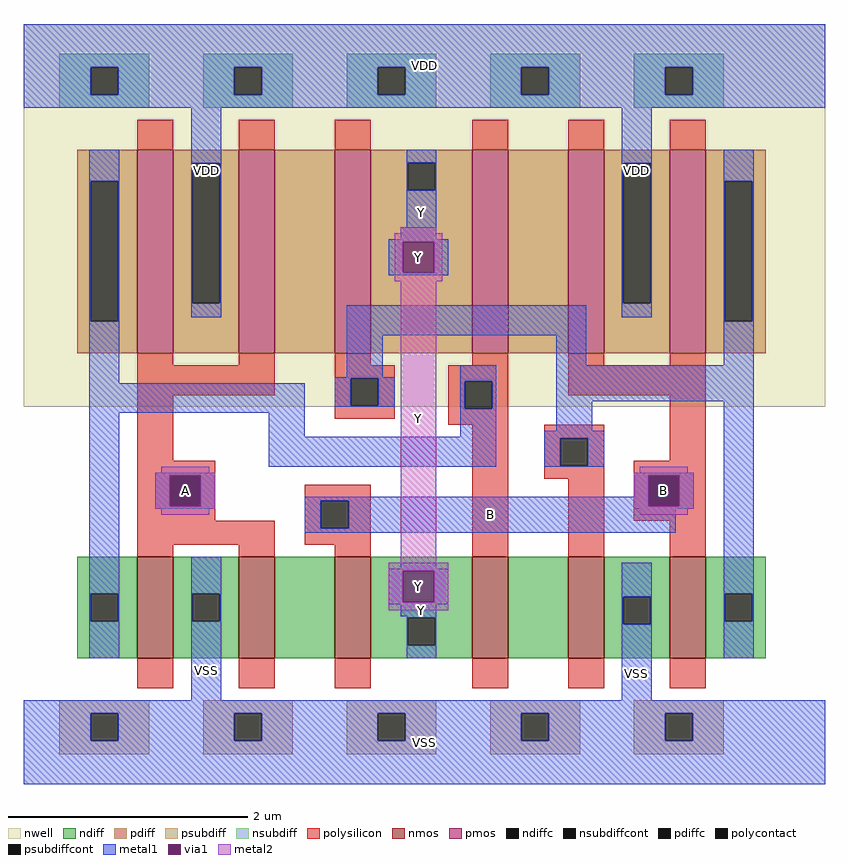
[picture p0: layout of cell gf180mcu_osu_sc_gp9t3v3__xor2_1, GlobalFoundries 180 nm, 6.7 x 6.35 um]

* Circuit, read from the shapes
.subckt gf180mcu_osu_sc_gp9t3v3__xor2_1 A B Y VDD VSS
XM1 VSS A n1 VSS nfet_03v3 w=0.85u l=0.3u
XM2 n2 A VSS VSS nfet_03v3 w=0.85u l=0.3u
XM3 Y B n2 VSS nfet_03v3 w=0.85u l=0.3u
XM4 n3 n1 Y VSS nfet_03v3 w=0.85u l=0.3u
XM5 VSS n4 n3 VSS nfet_03v3 w=0.85u l=0.3u
XM6 n4 B VSS VSS nfet_03v3 w=0.85u l=0.3u
XM7 VDD A n1 VDD pfet_03v3 w=1.7u l=0.3u
XM8 n5 A VDD VDD pfet_03v3 w=1.7u l=0.3u
XM9 Y n4 n5 VDD pfet_03v3 w=1.7u l=0.3u
XM10 n6 n1 Y VDD pfet_03v3 w=1.7u l=0.3u
XM11 VDD B n6 VDD pfet_03v3 w=1.7u l=0.3u
XM12 n4 B VDD VDD pfet_03v3 w=1.7u l=0.3u
.ends

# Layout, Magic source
magic
tech gf180mcuA
magscale 1 10
<< nwell >>
rect 0 630 1340 1270
<< nmos >>
rect 190 210 250 380
rect 360 210 420 380
rect 520 210 580 380
rect 750 210 810 380
rect 910 210 970 380
rect 1080 210 1140 380
<< pmos >>
rect 190 720 250 1060
rect 360 720 420 1060
rect 520 720 580 1060
rect 750 720 810 1060
rect 910 720 970 1060
rect 1080 720 1140 1060
<< ndiff >>
rect 90 318 190 380
rect 90 272 112 318
rect 158 272 190 318
rect 90 210 190 272
rect 250 318 360 380
rect 250 272 282 318
rect 328 272 360 318
rect 250 210 360 272
rect 420 210 520 380
rect 580 278 750 380
rect 580 232 642 278
rect 688 232 750 278
rect 580 210 750 232
rect 810 210 910 380
rect 970 313 1080 380
rect 970 267 1002 313
rect 1048 267 1080 313
rect 970 210 1080 267
rect 1140 318 1240 380
rect 1140 272 1172 318
rect 1218 272 1240 318
rect 1140 210 1240 272
<< pdiff >>
rect 90 1007 190 1060
rect 90 773 112 1007
rect 158 773 190 1007
rect 90 720 190 773
rect 250 1037 360 1060
rect 250 803 282 1037
rect 328 803 360 1037
rect 250 720 360 803
rect 420 720 520 1060
rect 580 1038 750 1060
rect 580 992 642 1038
rect 688 992 750 1038
rect 580 720 750 992
rect 810 720 910 1060
rect 970 1037 1080 1060
rect 970 803 1002 1037
rect 1048 803 1080 1037
rect 970 720 1080 803
rect 1140 1007 1240 1060
rect 1140 773 1172 1007
rect 1218 773 1240 1007
rect 1140 720 1240 773
<< ndiffc >>
rect 112 272 158 318
rect 282 272 328 318
rect 642 232 688 278
rect 1002 267 1048 313
rect 1172 272 1218 318
<< pdiffc >>
rect 112 773 158 1007
rect 282 803 328 1037
rect 642 992 688 1038
rect 1002 803 1048 1037
rect 1172 773 1218 1007
<< psubdiff >>
rect 60 118 210 140
rect 60 72 112 118
rect 158 72 210 118
rect 60 50 210 72
rect 300 118 450 140
rect 300 72 352 118
rect 398 72 450 118
rect 300 50 450 72
rect 540 118 690 140
rect 540 72 592 118
rect 638 72 690 118
rect 540 50 690 72
rect 780 118 930 140
rect 780 72 832 118
rect 878 72 930 118
rect 780 50 930 72
rect 1020 118 1170 140
rect 1020 72 1072 118
rect 1118 72 1170 118
rect 1020 50 1170 72
<< nsubdiff >>
rect 60 1198 210 1220
rect 60 1152 112 1198
rect 158 1152 210 1198
rect 60 1130 210 1152
rect 300 1198 450 1220
rect 300 1152 352 1198
rect 398 1152 450 1198
rect 300 1130 450 1152
rect 540 1198 690 1220
rect 540 1152 592 1198
rect 638 1152 690 1198
rect 540 1130 690 1152
rect 780 1198 930 1220
rect 780 1152 832 1198
rect 878 1152 930 1198
rect 780 1130 930 1152
rect 1020 1198 1170 1220
rect 1020 1152 1072 1198
rect 1118 1152 1170 1198
rect 1020 1130 1170 1152
<< psubdiffcont >>
rect 112 72 158 118
rect 352 72 398 118
rect 592 72 638 118
rect 832 72 878 118
rect 1072 72 1118 118
<< nsubdiffcont >>
rect 112 1152 158 1198
rect 352 1152 398 1198
rect 592 1152 638 1198
rect 832 1152 878 1198
rect 1072 1152 1118 1198
<< polysilicon >>
rect 190 1060 250 1110
rect 360 1060 420 1110
rect 520 1060 580 1110
rect 750 1060 810 1110
rect 910 1060 970 1110
rect 1080 1060 1140 1110
rect 190 700 250 720
rect 360 700 420 720
rect 190 650 420 700
rect 520 700 580 720
rect 750 700 810 720
rect 520 678 620 700
rect 190 540 250 650
rect 520 632 547 678
rect 593 632 620 678
rect 520 610 620 632
rect 710 673 810 700
rect 710 627 737 673
rect 783 627 810 673
rect 910 700 970 720
rect 1080 700 1140 720
rect 910 650 1140 700
rect 710 600 810 627
rect 190 513 320 540
rect 190 467 247 513
rect 293 467 320 513
rect 190 440 320 467
rect 470 473 580 500
rect 190 400 420 440
rect 470 427 497 473
rect 543 427 580 473
rect 470 400 580 427
rect 190 380 250 400
rect 360 380 420 400
rect 520 380 580 400
rect 750 380 810 600
rect 870 578 970 600
rect 870 532 897 578
rect 943 532 970 578
rect 1080 540 1140 650
rect 870 510 970 532
rect 910 380 970 510
rect 1020 513 1140 540
rect 1020 467 1047 513
rect 1093 467 1140 513
rect 1020 440 1140 467
rect 1080 380 1140 440
rect 190 160 250 210
rect 360 160 420 210
rect 520 160 580 210
rect 750 160 810 210
rect 910 160 970 210
rect 1080 160 1140 210
<< polycontact >>
rect 547 632 593 678
rect 737 627 783 673
rect 247 467 293 513
rect 497 427 543 473
rect 897 532 943 578
rect 1047 467 1093 513
<< metal1 >>
rect 0 1198 1340 1270
rect 0 1152 112 1198
rect 158 1152 352 1198
rect 398 1152 592 1198
rect 638 1152 832 1198
rect 878 1152 1072 1198
rect 1118 1152 1340 1198
rect 0 1130 1340 1152
rect 110 1007 160 1060
rect 110 773 112 1007
rect 158 773 160 1007
rect 280 1037 330 1130
rect 280 803 282 1037
rect 328 803 330 1037
rect 640 1038 690 1060
rect 640 992 642 1038
rect 688 992 690 1038
rect 640 930 690 992
rect 630 910 690 930
rect 1000 1037 1050 1130
rect 610 906 710 910
rect 610 854 634 906
rect 686 854 710 906
rect 610 850 710 854
rect 280 780 330 803
rect 1000 803 1002 1037
rect 1048 803 1050 1037
rect 110 670 160 773
rect 540 750 940 800
rect 1000 780 1050 803
rect 1170 1007 1220 1060
rect 540 680 600 750
rect 890 700 940 750
rect 1170 773 1172 1007
rect 1218 773 1220 1007
rect 1170 700 1220 773
rect 520 678 620 680
rect 110 620 470 670
rect 520 632 547 678
rect 593 632 620 678
rect 520 630 620 632
rect 730 673 790 700
rect 110 318 160 620
rect 410 580 470 620
rect 730 627 737 673
rect 783 627 790 673
rect 730 580 790 627
rect 890 640 1220 700
rect 890 590 950 640
rect 410 530 790 580
rect 870 578 970 590
rect 870 532 897 578
rect 943 532 970 578
rect 870 530 970 532
rect 220 516 320 520
rect 220 464 244 516
rect 296 464 320 516
rect 1020 516 1120 520
rect 1020 480 1044 516
rect 220 460 320 464
rect 470 473 1044 480
rect 470 427 497 473
rect 543 464 1044 473
rect 1096 464 1120 516
rect 543 460 1120 464
rect 543 427 1090 460
rect 470 420 1090 427
rect 110 272 112 318
rect 158 272 160 318
rect 110 210 160 272
rect 280 318 330 380
rect 630 360 690 370
rect 280 272 282 318
rect 328 272 330 318
rect 610 356 710 360
rect 610 304 634 356
rect 686 304 710 356
rect 610 300 710 304
rect 1000 313 1050 370
rect 630 280 690 300
rect 280 140 330 272
rect 640 278 690 280
rect 640 232 642 278
rect 688 232 690 278
rect 640 210 690 232
rect 1000 267 1002 313
rect 1048 267 1050 313
rect 1000 140 1050 267
rect 1170 318 1220 640
rect 1170 272 1172 318
rect 1218 272 1220 318
rect 1170 210 1220 272
rect 0 118 1340 140
rect 0 72 112 118
rect 158 72 352 118
rect 398 72 592 118
rect 638 72 832 118
rect 878 72 1072 118
rect 1118 72 1340 118
rect 0 0 1340 72
<< via1 >>
rect 634 854 686 906
rect 244 513 296 516
rect 244 467 247 513
rect 247 467 293 513
rect 293 467 296 513
rect 244 464 296 467
rect 1044 513 1096 516
rect 1044 467 1047 513
rect 1047 467 1093 513
rect 1093 467 1096 513
rect 1044 464 1096 467
rect 634 304 686 356
<< metal2 >>
rect 630 920 690 930
rect 620 906 700 920
rect 620 854 634 906
rect 686 854 700 906
rect 620 840 700 854
rect 230 520 310 530
rect 220 516 320 520
rect 220 464 244 516
rect 296 464 320 516
rect 220 460 320 464
rect 230 450 310 460
rect 630 370 690 840
rect 1030 520 1110 530
rect 1020 516 1120 520
rect 1020 464 1044 516
rect 1096 464 1120 516
rect 1020 460 1120 464
rect 1030 450 1110 460
rect 610 356 710 370
rect 610 304 634 356
rect 686 304 710 356
rect 610 290 710 304
<< labels >>
rlabel via1 s 244 464 296 516 4 A
port 1 nsew signal input
rlabel via1 s 1044 464 1096 516 4 B
port 2 nsew signal input
rlabel via1 s 634 304 686 356 4 Y
port 3 nsew signal output
rlabel metal1 s 280 780 330 1270 4 VDD
port 4 nsew power bidirectional abutment
rlabel metal1 s 280 0 330 380 4 VSS
port 5 nsew ground bidirectional abutment
rlabel metal1 s 1000 780 1050 1270 1 VDD
port 4 nsew power bidirectional abutment
rlabel metal1 s 0 1130 1340 1270 1 VDD
port 4 nsew power bidirectional abutment
rlabel metal1 s 1000 0 1050 370 1 VSS
port 5 nsew ground bidirectional abutment
rlabel metal1 s 0 0 1340 140 1 VSS
port 5 nsew ground bidirectional abutment
rlabel metal2 s 230 450 310 530 1 A
port 1 nsew signal input
rlabel metal2 s 220 460 320 520 1 A
port 1 nsew signal input
rlabel metal1 s 220 460 320 520 1 A
port 1 nsew signal input
rlabel metal2 s 1030 450 1110 530 1 B
port 2 nsew signal input
rlabel metal2 s 1020 460 1120 520 1 B
port 2 nsew signal input
rlabel metal1 s 470 420 1090 480 1 B
port 2 nsew signal input
rlabel metal1 s 1020 460 1120 520 1 B
port 2 nsew signal input
rlabel via1 s 634 854 686 906 1 Y
port 3 nsew signal output
rlabel metal2 s 630 290 690 930 1 Y
port 3 nsew signal output
rlabel metal2 s 620 840 700 920 1 Y
port 3 nsew signal output
rlabel metal2 s 610 290 710 370 1 Y
port 3 nsew signal output
rlabel metal1 s 630 850 690 930 1 Y
port 3 nsew signal output
rlabel metal1 s 640 850 690 1060 1 Y
port 3 nsew signal output
rlabel metal1 s 610 850 710 910 1 Y
port 3 nsew signal output
rlabel metal1 s 640 210 690 370 1 Y
port 3 nsew signal output
rlabel metal1 s 630 280 690 370 1 Y
port 3 nsew signal output
rlabel metal1 s 610 300 710 360 1 Y
port 3 nsew signal output
<< properties >>
string FIXED_BBOX 0 0 1340 1270
string GDS_END 395898
string GDS_FILE $PDKPATH/libs.ref/gf180mcu_osu_sc_gp9t3v3/gds/gf180mcu_osu_sc_gp9t3v3.gds
string GDS_START 387252
string LEFclass CORE
string LEFsite gf180mcu_osu_sc_gp9t3v3
string LEFsymmetry X Y
<< end >>
